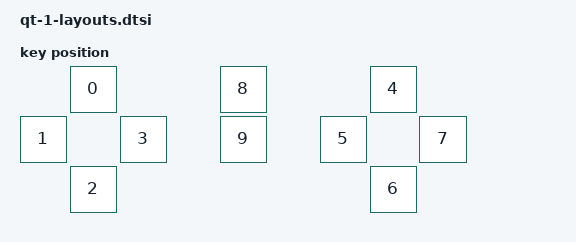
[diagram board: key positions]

#include <physical_layouts.dtsi>

/ {
    physical_layout0: physical_layout0 {
        compatible = "zmk,physical-layout";
        display-name = "Default";

        keys  //                     w   h    x    y     rot    rx    ry
            = <&key_physical_attrs 100 100  100    0       0     0     0>
            , <&key_physical_attrs 100 100    0  100       0     0     0>
            , <&key_physical_attrs 100 100  100  200       0     0     0>
            , <&key_physical_attrs 100 100  200  100       0     0     0>
            , <&key_physical_attrs 100 100  700    0       0     0     0>
            , <&key_physical_attrs 100 100  600  100       0     0     0>
            , <&key_physical_attrs 100 100  700  200       0     0     0>
            , <&key_physical_attrs 100 100  800  100       0     0     0>
            , <&key_physical_attrs 100 100  400    0       0     0     0>
            , <&key_physical_attrs 100 100  400  100       0     0     0>
            ;
    };
};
